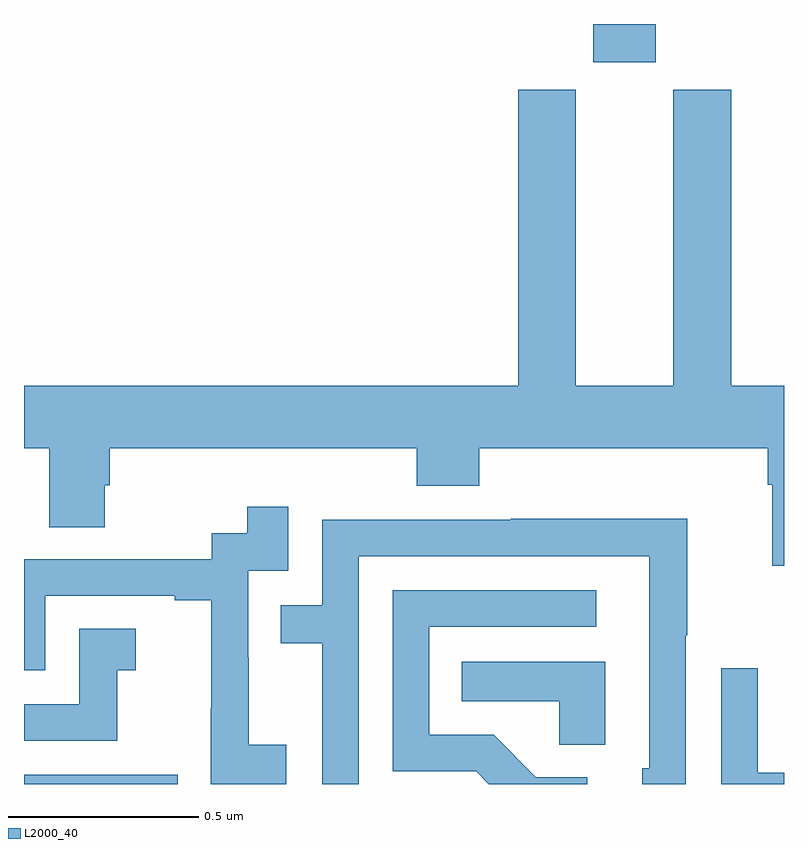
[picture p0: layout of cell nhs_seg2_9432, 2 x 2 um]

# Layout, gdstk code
import gdstk
lib = gdstk.Library(unit=1e-6, precision=1e-09)
def R(c, l, rs):  # rectangles x0, y0, x1, y1
    for r in rs: c.add(gdstk.rectangle(r[:2], r[2:], *l))
def P(c, l, *ps):  # polygons
    for p in ps: c.add(gdstk.Polygon(p, *l))
L2000_40 = (2000, 40)

nhs_seg2_9432 = lib.new_cell('nhs_seg2_9432')
R(nhs_seg2_9432, L2000_40, [(229,598.8,229.404,598.824), (230.498,600.699,230.662,600.8)])
P(nhs_seg2_9432, L2000_40, [(231,599.848),(230.861,599.848),(230.861,600.627),(230.708,600.627),(230.708,599.848),(230.452,599.848),(230.452,600.627),(230.3,600.627),(230.3,599.848),(229,599.848),(229,599.684),(229.066,599.684),(229.066,599.476),(229.213,599.476),(229.213,599.586),(229.226,599.586),(229.226,599.684),(230.033,599.684),(230.033,599.585),(230.198,599.585),(230.198,599.684),(230.957,599.684),(230.957,599.588),(230.969,599.588),(230.969,599.375),(231,599.375)],
  [(229.69,598.903),(229.592,598.903),(229.592,599.132),(229.59,599.132),(229.59,599.361),(229.695,599.361),(229.695,599.53),(229.587,599.53),(229.587,599.46),(229.494,599.46),(229.494,599.391),(229,599.391),(229,599.1),(229.056,599.1),(229.056,599.295),(229.397,599.295),(229.397,599.283),(229.493,599.283),(229.493,598.999),(229.492,598.999),(229.492,598.8),(229.69,598.8)],
  [(229.881,599.4),(230.646,599.4),(230.646,598.842),(230.627,598.842),(230.627,598.8),(230.742,598.8),(230.742,599.191),(230.745,599.191),(230.745,599.498),(230.281,599.498),(230.281,599.496),(229.785,599.496),(229.785,599.271),(229.675,599.271),(229.675,599.17),(229.785,599.17),(229.785,598.8),(229.881,598.8)],
  [(230.482,598.818),(230.347,598.818),(230.236,598.929),(230.067,598.929),(230.067,599.214),(230.506,599.214),(230.506,599.31),(229.971,599.31),(229.971,598.833),(230.19,598.833),(230.223,598.8),(230.482,598.8)],
  [(229.245,599.099),(229.294,599.099),(229.294,599.209),(229.146,599.209),(229.146,599.01),(229,599.01),(229,598.914),(229.245,598.914)],
  [(230.53,599.122),(230.152,599.122),(230.152,599.018),(230.409,599.018),(230.409,598.903),(230.53,598.903)],
  [(231,598.83),(230.931,598.83),(230.931,599.104),(230.835,599.104),(230.835,598.8),(231,598.8)])

lib.write_gds('nhs_seg2_9432.gds')
